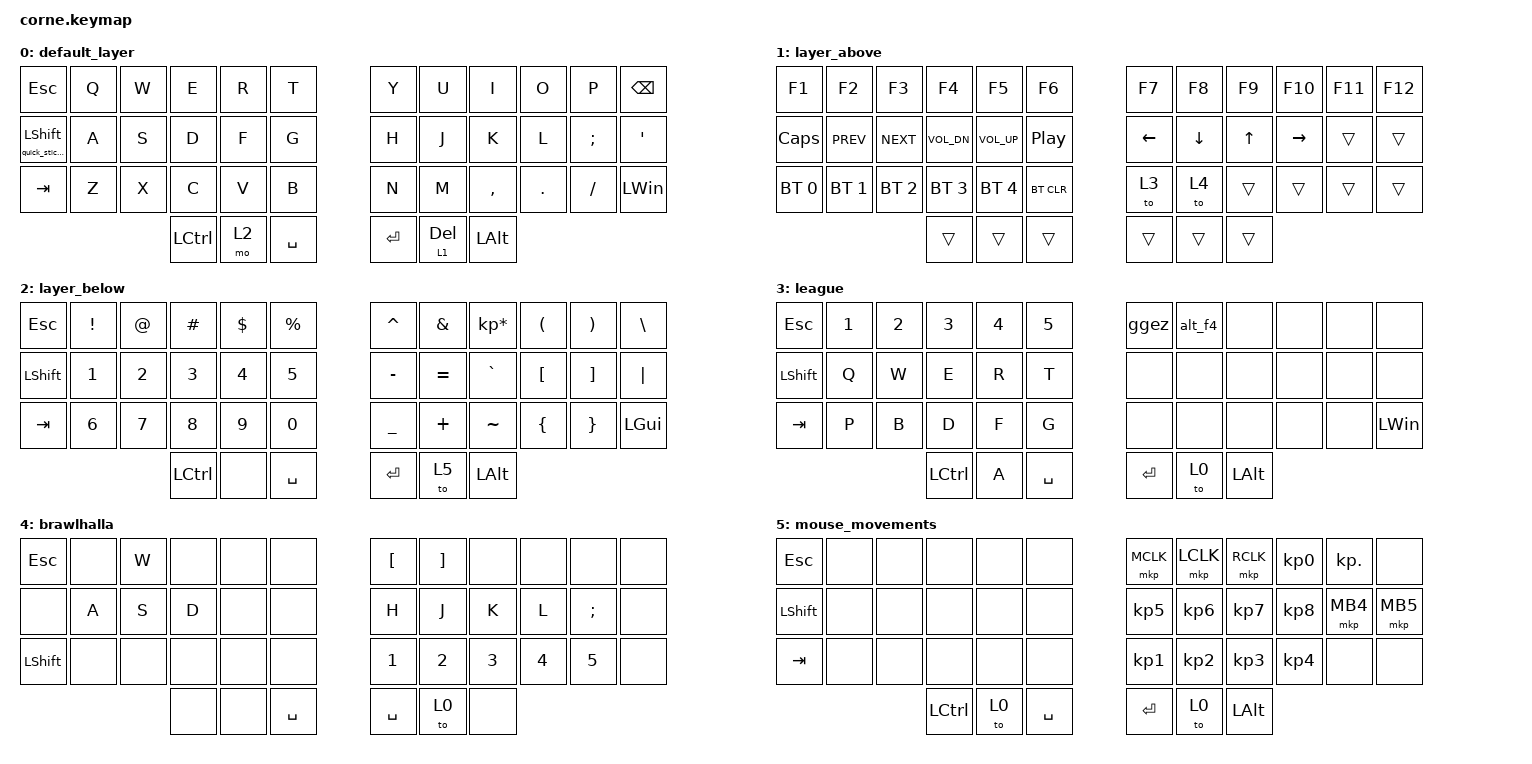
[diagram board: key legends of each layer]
/*
 * Copyright (c) 2020 The ZMK Contributors
 *
 * SPDX-License-Identifier: MIT
 */

#include <dt-bindings/zmk/mouse.h>
#include <behaviors.dtsi>
#include <dt-bindings/zmk/bt.h>
#include <dt-bindings/zmk/keys.h>
#include <dt-bindings/zmk/pointing.h>

/ {
    behaviors {
        tp: tap_preferred {
            compatible = "zmk,behavior-hold-tap";
            label = "TAP_PREFERRED";
            #binding-cells = <2>;
            tapping-term-ms = <150>;
            quick-tap-ms = <0>;
            flavor = "tap-preferred";
            bindings = <&kp>, <&kp>;
        };

        quick_sticky_key: quick_sticky_key {
            compatible = "zmk,behavior-sticky-key";
            label = "QUICK_STICKY_KEY";
            bindings = <&kp>;
            #binding-cells = <1>;
            quick-release;
            release-after-ms = <1000>;
        };
    };

    macros {
        alt_f4: alt_f4 {
            compatible = "zmk,behavior-macro";
            #binding-cells = <0>;
            bindings = <&kp LA(F4)>;
            label = "ALT_F4";
        };

        ggez: ggez {
            compatible = "zmk,behavior-macro";
            #binding-cells = <0>;
            bindings = <&kp LS(ENTER) &kp G &kp G &kp E &kp Z &kp ENTER>;
            label = "GGEZ";
        };
    };

    keymap {
        compatible = "zmk,keymap";

        default_layer {
            // -----------------------------------------------------------------------------------------
            // | ESC  |  Q  |  W  |  E  |  R  |    T      |   |  Y  |  U   |  I  |  O  |  P  | TAB |
            // | CTRL |  A  |  S  |  D  |  F  |    G      |   |  H  |  J   |  K  |  L  |  ;  |  '   |
            // | SHFT |  Z  |  X  |  C  |  V  |    B      |   |  N  |  M   |  ,  |  .  |  /  | SHFT |
            //                    | GUI | LWR | HYPER/SPC |   | ALT/ENT | RSE  | BKSP |

            bindings = <
&kp ESCAPE                    &kp Q  &kp W  &kp E             &kp R  &kp T        &kp Y      &kp U         &kp I         &kp O    &kp P     &kp BACKSPACE
&quick_sticky_key LEFT_SHIFT  &kp A  &kp S  &kp D             &kp F  &kp G        &kp H      &kp J         &kp K         &kp L    &kp SEMI  &kp SINGLE_QUOTE
&kp TAB                       &kp Z  &kp X  &kp C             &kp V  &kp B        &kp N      &kp M         &kp COMMA     &kp DOT  &kp FSLH  &kp LEFT_WIN
                                            &kp LEFT_CONTROL  &mo 2  &kp SPACE    &kp ENTER  &lt 1 DELETE  &kp LEFT_ALT
            >;
        };

        layer_above {
            // -----------------------------------------------------------------------------------------
            // |       |  F1  |  F2  |  F3  |  F4  |  F5 |            |  F6  |  F7  |  F8  |  F9  |  F10  |   |
            // |  CAPS | Prev | Next | Vol - | Vol + | Play/Pause |   |      | LFT | DWN |  UP | RGT |     |     |
            // | BTCLR | BT1 | BT2 | BT3 | BT4 | BT5 |   |            |     |     |     |     |     |     |
            //                    |     |     |    |                  |     |     |     |

            bindings = <
&kp F1        &kp F2        &kp F3        &kp F4        &kp F5        &kp F6        &kp F7    &kp F8    &kp F9  &kp F10    &kp F11  &kp F12
&kp CAPSLOCK  &kp C_PREV    &kp C_NEXT    &kp C_VOL_DN  &kp C_VOL_UP  &kp C_PP      &kp LEFT  &kp DOWN  &kp UP  &kp RIGHT  &trans   &trans
&bt BT_SEL 0  &bt BT_SEL 1  &bt BT_SEL 2  &bt BT_SEL 3  &bt BT_SEL 4  &bt BT_CLR    &to 3     &to 4     &trans  &trans     &trans   &trans
                                          &trans        &trans        &trans        &trans    &trans    &trans
            >;
        };

        layer_below {
            // -----------------------------------------------------------------------------------------
            // | ESC  |  !  |  @  |  #  |  $  |    %      |   |  ^  |  &   |  *  |  (  |  )  |   \   |
            // |      |  1  |  2  |  3  |  4  |    5      |   |  -  |  =   |  `  |  [  |  ]  |  "|"  |
            // | SHFT |  6  |  7  |  8  |  9  |    0      |   |  _  |  +   |  ~  |  {  |  }  | RSHFT |
            //                     | GUI |    |HYPER/SPACE|   | ALT/ENT | BKSP |     |

            bindings = <
&kp ESCAPE      &kp EXCL  &kp AT  &kp HASH          &kp DLLR  &kp PRCNT    &kp CARET  &kp AMPS   &kp KP_MULTIPLY  &kp LPAR  &kp RPAR  &kp BSLH
&kp LEFT_SHIFT  &kp N1    &kp N2  &kp N3            &kp N4    &kp N5       &kp MINUS  &kp EQUAL  &kp GRAVE        &kp LBKT  &kp RBKT  &kp PIPE
&kp TAB         &kp N6    &kp N7  &kp N8            &kp N9    &kp N0       &kp UNDER  &kp PLUS   &kp TILDE        &kp LBRC  &kp RBRC  &kp LEFT_GUI
                                  &kp LEFT_CONTROL  &none     &kp SPACE    &kp ENTER  &to 5      &kp LEFT_ALT
            >;
        };

        league {
            bindings = <
&kp ESCAPE      &kp N1  &kp N2  &kp N3            &kp N4  &kp N5       &ggez      &alt_f4  &none         &none  &none  &none
&kp LEFT_SHIFT  &kp Q   &kp W   &kp E             &kp R   &kp T        &none      &none    &none         &none  &none  &none
&kp TAB         &kp P   &kp B   &kp D             &kp F   &kp G        &none      &none    &none         &none  &none  &kp LEFT_WIN
                                &kp LEFT_CONTROL  &kp A   &kp SPACE    &kp ENTER  &to 0    &kp LEFT_ALT
            >;
        };

        brawlhalla {
            bindings = <
&kp ESCAPE  &none  &kp W  &none  &none  &none        &kp LEFT_BRACKET  &kp RIGHT_BRACKET  &none         &none         &none         &none
&none       &kp A  &kp S  &kp D  &none  &none        &kp H             &kp J              &kp K         &kp L         &kp SEMI      &none
&kp LSHFT   &none  &none  &none  &none  &none        &kp NUMBER_1      &kp NUMBER_2       &kp NUMBER_3  &kp NUMBER_4  &kp NUMBER_5  &none
                          &none  &none  &kp SPACE    &kp SPACE         &to 0              &none
            >;
        };

        mouse_movements {
            bindings = <
&kp ESCAPE      &none  &none  &none      &none  &none        &mkp MCLK        &mkp LCLK        &mkp RCLK        &kp KP_NUMBER_0  &kp KP_DOT  &none
&kp LEFT_SHIFT  &none  &none  &none      &none  &none        &kp KP_NUMBER_5  &kp KP_NUMBER_6  &kp KP_NUMBER_7  &kp KP_NUMBER_8  &mkp MB4    &mkp MB5
&kp TAB         &none  &none  &none      &none  &none        &kp KP_NUMBER_1  &kp KP_NUMBER_2  &kp KP_NUMBER_3  &kp KP_NUMBER_4  &none       &none
                              &kp LCTRL  &to 0  &kp SPACE    &kp ENTER        &to 0            &kp LEFT_ALT
            >;
        };
    };
};
